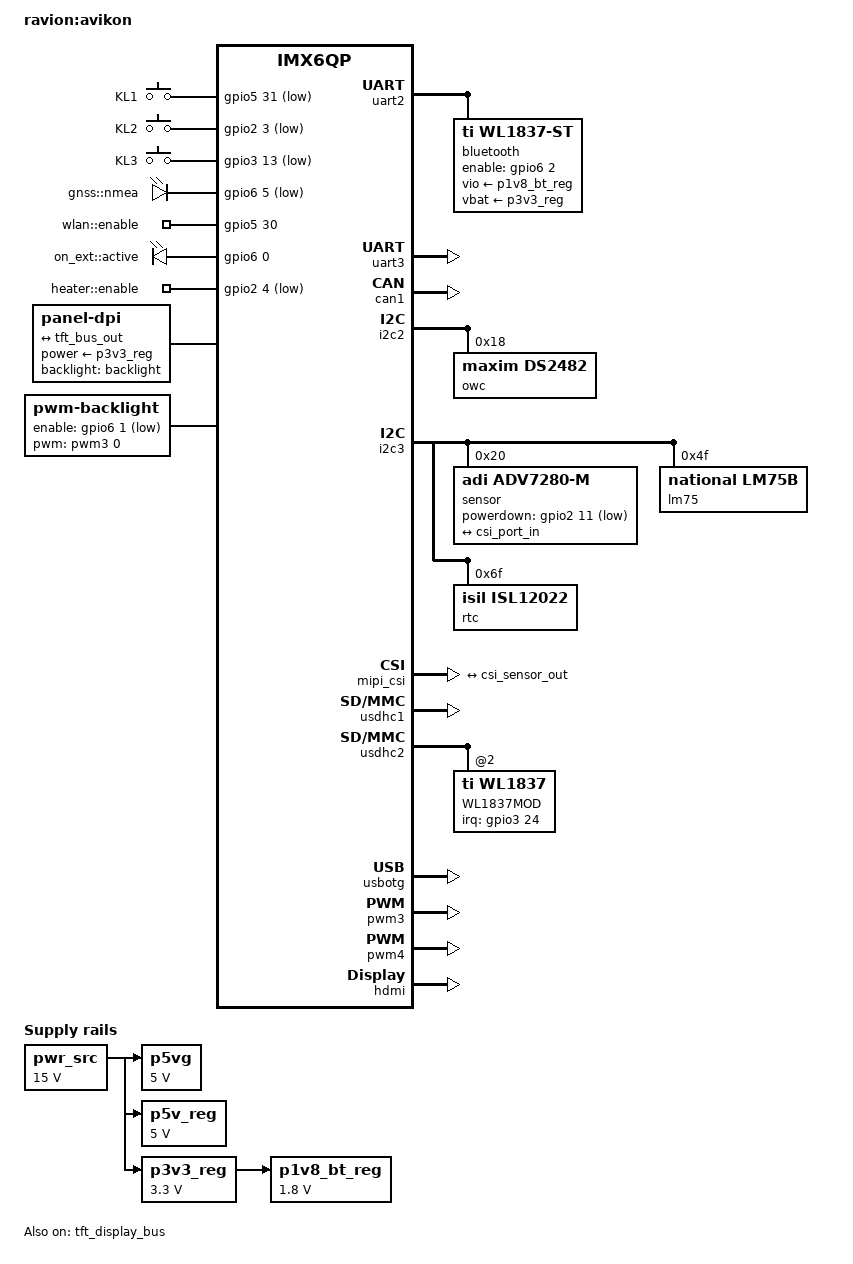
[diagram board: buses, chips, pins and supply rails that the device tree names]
/*
 * Copyright 2018 Radioavionica Corp.
 *
 * Author: Alex A. Mihaylov <minimumlaw@rambler.ru>
 *
 * This program is free software; you can redistribute it and/or modify
 * it under the terms of the GNU General Public License version 2 as
 * published by the Free Software Foundation.
 *
 */
/dts-v1/;
#include "imx6qp.dtsi"

#include "imx6qdl-ravion-v2.dtsi"

/ {
	model = "ravion:avikon";
	compatible = "ravion,imx6qp", "fsl,imx6qp";

	/*
	 * Device specific regulators
	 */
	pwr_src: pwr_regulator {
			compatible = "regulator-fixed";
			regulator-name = "P15V_IN";
			/* FixMe: 12.8...25V input voltage */
			regulator-min-microvolt = <15000000>;
			regulator-max-microvolt = <15000000>;
			regulator-always-on;
	};

	p5vg: p5vg_regulator { /* DA12 */
			compatible = "regulator-fixed";
			regulator-name = "P5VG";
			regulator-min-microvolt = <5000000>;
			regulator-max-microvolt = <5000000>;
			vin-supply = <&pwr_src>;
			regulator-always-on;
	};

	p5v_reg: p5v_regulator { /* DA26 */
			compatible = "regulator-fixed";
			regulator-name = "P5V";
			regulator-min-microvolt = <5000000>;
			regulator-max-microvolt = <5000000>;
			vin-supply = <&pwr_src>;
			regulator-always-on;
	};

	p3v3_reg: p3v3_regulator { /* DA24 */
			compatible = "regulator-fixed";
			regulator-name = "P3V3";
			regulator-min-microvolt = <3300000>;
			regulator-max-microvolt = <3300000>;
			vin-supply = <&pwr_src>;
			regulator-always-on;
	};

	p1v8_bt_reg: p1v8_bt_regulator { /* DA17 */
			compatible = "regulator-fixed";
			regulator-name = "VIO_BT";
			regulator-min-microvolt = <1800000>;
			regulator-max-microvolt = <1800000>;
			vin-supply = <&p3v3_reg>;
			regulator-always-on;
	};

	/*
	 * Input keys (signals)
	 */
	gpio-keys {
		compatible = "gpio-keys";

		kl1 {
			label = "KL1";
			gpios = <&gpio5 31 GPIO_ACTIVE_LOW>;	/* soDimm 116 */
			linux,code = <KEY_F2>;
			debounce-interval = <100>;
			wakeup-source;
		};

		kl2 {
			label = "KL2";
			gpios = <&gpio2 3 GPIO_ACTIVE_LOW>;	/* soDimm 117 */
			linux,code = <KEY_F9>;
			debounce-interval = <100>;
			wakeup-source;
		};

		kl3 {
			label = "KL3";
			gpios = <&gpio3 13 GPIO_ACTIVE_LOW>;	/* soDimm 118 */
			linux,code = <KEY_F10>;
			debounce-interval = <100>;
			wakeup-source;
		};
	};

	/*
	 * Control leds (signals)
	 */
	gpio-leds {
		compatible = "gpio-leds";

		gnss_port {
			label = "gnss::nmea";
			gpios = <&gpio6 5 GPIO_ACTIVE_LOW>;	/*soDimm 162 */
			default-state = "on";
		};

		wlan_en {
			label = "wlan::enable";
			gpios = <&gpio5 30 GPIO_ACTIVE_HIGH>;	/* soDimm 164 */
			default-state = "on";
		};

		ext_on {
			label = "on_ext::active";
			gpios = <&gpio6 0 GPIO_ACTIVE_HIGH>;	/* soDimm 168 */
			default-state = "off";
		};

		heater_en {
			label = "heater::enable";
			gpios = <&gpio2 4 GPIO_ACTIVE_LOW>;	/* soDimm 119 */
			default-state = "off";
		};
	};

	/* TFT Bus connected panel */
	panel {
		power-supply = <&p3v3_reg>;
		backlight = <&backlight>;
#if 0  /******  Use panel description from panel-simple driver  ******/
		compatible = "tianma,nl6448bc26-22f";
#else  /****** Alternative record (without panel-simple patches ******/
		compatible = "panel-dpi";
		width-mm = <170>;
		height-mm = <128>;

		panel-timing {
			clock-frequency = <25175000>;
			hactive = <640>;
			vactive = <480>;
			hsync-len = <96>;
			hfront-porch = <16>;
			hback-porch = <48>;
			vfront-porch = <12>;
			vback-porch = <31>;
			vsync-len = <2>;
			pixelclk-active = <1>;	/* drive rise, sample fail */
			hsync-active = <0>;
			vsync-active = <0>;
			de-active = <1>;
		};
#endif /****** Alternative record (without panel-simple patches ******/

		port {
			display_panel_in: endpoint {
				remote-endpoint = <&tft_bus_out>;
			};
		};
	};

	backlight: backlight {
		compatible = "pwm-backlight";
		enable-gpios = <&gpio6 1 GPIO_ACTIVE_LOW>; /* soDimm  160 */
		pwms = <&pwm3 0 2000 1>; /* FixMe: frequency !!! */
		brightness-levels = <0 25 51 76 102 127 153 178 204 229 255>;
		default-brightness-level = <9>;
		status = "okay";
	};

	/* Display init sequense fixup */
	display-subsystem {
		compatible = "fsl,imx-display-subsystem";
		ports = <&ipu1_di0>, <&ipu1_di1>, <&ipu2_di0>, <&ipu2_di1>;
	};
};

/*
 * Video subsystem
 */
&tft_display_bus {
	status = "okay";
};

&tft_bus_out {
	remote-endpoint = <&display_panel_in>;
};

/*
 * Serial ports
 */
/* &uart1 {	status = "okay";	}; => Allways enabled */
&uart2 {
	uart-has-rtscts;
	status = "okay";

	bluetooth {
		enable-gpios = <&gpio6 2 GPIO_ACTIVE_HIGH>;
		compatible = "ti,wl1837-st";
		max-speed = <3686400>;
		clocks = <&clk_32k_bt 0>;
		clock-names = "ext_clock";
		/*
		 * Params not found in source, but described in documentation
		 */
		current-speed = <115200>;
		vio-supply = <&p1v8_bt_reg>;
		vbat-supply = <&p3v3_reg>;
		status = "okay";

		clk_32k_bt: bt_clk {
			compatible = "fixed-clock";
			#clock-cells = <0>;
			clock-frequency = <32768>;
			clock-accuracy = <100>;
		};
	};
};

&uart3 {
	status = "okay";
};

/*
 * Controller Area Network (CAN) Bus
 */
&can1 {
	status = "okay";
};

/*
 * I2C Busses
 */
&i2c2 {	/* Compatible I2C: soDimm 194, 196 */
	status = "okay";

	owc: ds2482@18 { /* DS2484: I2C to OneWire Converter */
		status = "okay";
		compatible = "maxim,ds2482";
		reg = <0x18>;
	};
};

&i2c3 { /* Extended I2C: soDimm 128, 130 */
	status = "okay";

	sensor@20 { /* ADV7280BCPZ - Composite video capture with MIPI interface */
		compatible = "adi,adv7280-m";
		powerdown-gpios = <&gpio2 11 GPIO_ACTIVE_LOW>;		/* soDimm 133 */
		reg = <0x20>;

		port {
			csi_sensor_out: endpoint {
				remote-endpoint = <&csi_port_in>;
				clock-lanes = <0>;
				data-lanes = <1>;
			};
		};
	};

	lm75@4f { /* LM75BDP - Thermal sensor */
		compatible = "national,lm75b";
		reg = <0x4f>;
	};

	rtc@6f { /* ISL12020: I2C Real Time Clock (battery backup) */
		compatible = "isil,isl12022";
		reg = <0x6f>;
	};
};

&mipi_csi {
	status = "okay";

	port@0 {
		reg = <0>;
		csi_port_in: endpoint {
			remote-endpoint = <&csi_sensor_out>;
			clock-lanes = <0>;
			data-lanes = <1>;
		};
	};
};

/*
 * SD/MMC and eMMC controllers
 */
&usdhc1 {	status = "okay";	}; /* compatible */
&usdhc2 {				   /* externed - WiFi module */
	status = "okay";
	#address-cells = <1>;
	#size-cells = <0>;
	/* Tune-Up
	non-removable;
	no-mmc-hs400;
	no-sdio;
	no-sd;
	no-1-8-v;
	no-mmc; */

	WL1837MOD: wlcore@2 {
		compatible = "ti,wl1837";
		reg = <2>;
		interrupt-parent = <&gpio3>;
		interrupts = <24 IRQ_TYPE_LEVEL_HIGH>; 	/* soDim023 */
		tcxo-clock-frequency = <26000000>;
	};
};
/* &usdhc3 {	status = "okay";	}; => eMMC allways enabled */

/*
 * Ethernet controller
 */
/* &fec {	status = "okay";	}; => eth0 allways enabled */

/*
 * Audio (digital part)
 */
/* &audmux {	status = "okay";	}; => Allways enabled */
/* &ssi1 {	status = "okay";	}; => Allways enabled */

/* &usbh1  {	status = "okay";	}; HOST => Allways enabled */

&usbotg	{ /* OTG */
	status = "okay";
};

/*
 * PWMs
 */
&pwm3	{	status = "okay";	};
&pwm4	{	status = "okay";	};

/*
 * Video subsystems
 */
/* HDMI: forced to IPU2 */
/delete-node/&ipu1_di0_hdmi;
/delete-node/&hdmi_mux_0;
/delete-node/&ipu1_di1_hdmi;
/delete-node/&hdmi_mux_1;
&hdmi	{	status = "okay";	};

/* Avikon board use full uart lines as gpio */
&iomuxc {
	pinctrl-names = "default";
	pinctrl-0 = <&pinctrl_hog>, <&pinctrl_uart1gpio>;
};
